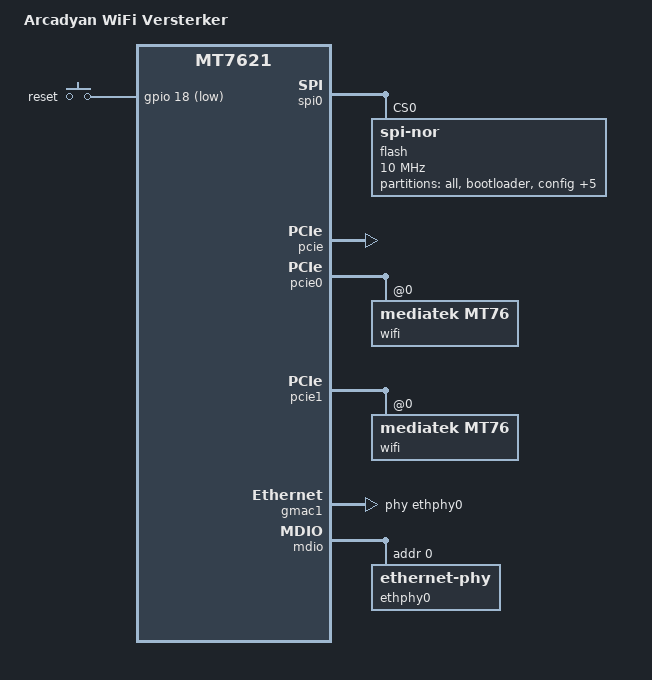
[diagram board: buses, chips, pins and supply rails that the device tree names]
// SPDX-License-Identifier: GPL-2.0-or-later OR MIT

#include "mt7621.dtsi"

#include <dt-bindings/gpio/gpio.h>
#include <dt-bindings/input/input.h>
#include <dt-bindings/leds/common.h>

/ {
	compatible = "arcadyan,wifi-versterker", "mediatek,mt7621-soc";
	model = "Arcadyan WiFi Versterker";

	chosen {
		bootargs = "console=ttyS0,57600 ubi.mtd=ubi root=/dev/ubiblock0_0";
	};

	keys {
		compatible = "gpio-keys";

		reset {
			label = "reset";
			gpios = <&gpio 18 GPIO_ACTIVE_LOW>;
			linux,code = <KEY_RESTART>;
		};
	};
};

&spi0 {
	status = "okay";

	flash@0 {
		compatible = "jedec,spi-nor";

		reg = <0>;
		spi-max-frequency = <10000000>;

		partitions {
			compatible = "fixed-partitions";
			#address-cells = <1>;
			#size-cells = <1>;

			partition@0 {
				label = "all";
				reg = <0x0 0x2000000>;
				read-only;
			};

			partition@1 {
				label = "bootloader";
				reg = <0x0 0x30000>;
				read-only;
			};

			partition@30000 {
				label = "config";
				reg = <0x30000 0x10000>;
			};

			factory: partition@40000 {
				label = "factory";
				reg = <0x40000 0x10000>;
				read-only;

				macaddr_factory_fff0: macaddr@fff0 {
					reg = <0xfff0 0x6>;
				};
				macaddr_factory_fff6: macaddr@fff6 {
					reg = <0xfff6 0x6>;
				};
			};

			partition@50000 {
				label = "kernel";
				reg = <0x50000 0x440000>;
			};

			ubi: partition@490000 {
				label = "ubi";
				reg = <0x490000 0x1450000>;
			};

			partition@1fb0000 {
				label = "glbcfg";
				reg = <0x1fb0000 0x10000>;
				read-only;
			};

			partition@1fc0000 {
				label = "board_data";
				reg = <0x1fc0000 0x10000>;
				read-only;
			};
		};
	};
};

&xhci {
	status = "disabled";
};

&pcie {
	status = "okay";
};

&pcie0 {
	wifi@0,0 {
		compatible = "mediatek,mt76";
		reg = <0x0000 0 0 0 0>;
		mediatek,mtd-eeprom = <&factory 0x8000>;
	};
};

&pcie1 {
	wifi@0,0 {
		compatible = "mediatek,mt76";
		reg = <0x0000 0 0 0 0>;
		ieee80211-freq-limit = <5000000 6000000>;
		mediatek,mtd-eeprom = <&factory 0x0000>;
		mediatek,disable-radar-background;
	};
};

&gmac0 {
	nvmem-cells = <&macaddr_factory_fff0>;
	nvmem-cell-names = "mac-address";
	mac-address-increment = <1>;
};

&gmac1 {
	status = "okay";
	label = "lan";
	phy-handle = <&ethphy0>;

	nvmem-cells = <&macaddr_factory_fff0>;
	nvmem-cell-names = "mac-address";
};

&mdio {
	ethphy0: ethernet-phy@0 {
		reg = <0>;
	};
};

&state_default {
	gpio {
		groups = "i2c", "jtag";
		function = "gpio";
	};
};
